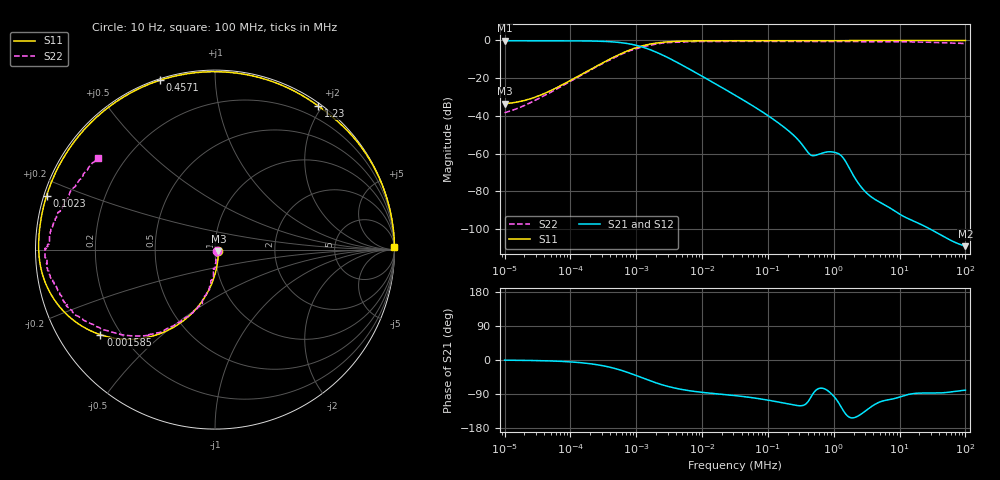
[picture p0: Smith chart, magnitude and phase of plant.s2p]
! NPort=2 DATA=701 NOISE=0 GROUPDELAY=0 COMPLEX_DATAFORMAT=RI
! NumOfBlock=1 NumOfParam=0
! .MODEL plant S TSTONEFILE=V:\EDA\users\dgarciam\oaks\vccd_hspice_ww52\deck_ww52\main_bode\shell_deck_AVP1p2_plant_touch.s2p TYPE=S
!  -- The above .MODEL line can be used for the S element in the netlist.
# Hz S RI R  0.100000000000000006
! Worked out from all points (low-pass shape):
!   701 points, 10 Hz to 100 MHz, reference 0.1 ohm
!   highest |S21| = -0.17 dB at 10 Hz (marker M1); lowest = -109.1 dB at 100 MHz (marker M2)
!   |S21| within 3 dB of the highest: start of sweep to 1.153 kHz
!   lowest |S11| = -33.6 dB at 10 Hz (marker M3), VSWR 1.04, Z = 0.104 - j0.0018 ohm
!   |S11| at or under -10 dB: start of sweep to 391.6 Hz
!   |S22| runs from -38.3 to -0.5 dB; largest |S21 - S12| = 7.6e-12
!   S11 on the Smith chart (normalised r, x): 10 Hz: 1.04, -0.02; 1.585 kHz: 0.13, -0.33; 102.3 kHz: 0.01, +0.16; 457.1 kHz: 0.01, +0.73; 1.23 MHz: 0.03, +1.95; 100 MHz: open
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10  0.0191 -0.00868  0.9808 -0.00852  0.9808 -0.00852  0.00879 -0.00833
31.6228  0.0184 -0.0274  0.9801 -0.0269  0.9801 -0.0269  0.00879 -0.0263
147.911  0.00292 -0.1263  0.965 -0.124  0.965 -0.124  -0.00187 -0.1213
501.187  -0.1402 -0.3659  0.825 -0.3594  0.825 -0.3594  -0.1227 -0.3515
954.993  -0.3893 -0.4914  0.5814 -0.4835  0.5814 -0.4835  -0.3678 -0.4729
1584.89  -0.638 -0.4744  0.3381 -0.4688  0.3381 -0.4688  -0.5774 -0.4586
2187.76  -0.7679 -0.409  0.211 -0.4067  0.211 -0.4067  -0.7231 -0.3978
5495.41  -0.9448 -0.1857  0.0379 -0.1982  0.0379 -0.1982  -0.89 -0.194
31622.8  -0.9815 0.0615  -0.00243 -0.0353  -0.00243 -0.0353  -0.9469 -0.035
102329  -0.9385 0.3  -0.00276 -0.00949  -0.00276 -0.00949  -0.9469 -0.00962
234423  -0.7514 0.6423  -0.00155 -0.00291  -0.00155 -0.00291  -0.9469 -0.000271
331131  -0.5635 0.8147  -0.000874 -0.00149  -0.000874 -0.00149  -0.9469 0.0032
457088  -0.3062 0.9436  -9.28e-05 -0.000892  -9.28e-05 -0.000892  -0.9398 0.00628
467735  -0.2852 0.9502  -4.67e-05 -0.000883  -4.67e-05 -0.000883  -0.9398 0.0065
724436  0.1423 0.9803  0.000257 -0.00104  0.000257 -0.00104  -0.9398 0.0106
1230270  0.5762 0.7996  -0.000436 -0.000844  -0.000436 -0.000844  -0.9327 0.0164
1445440  0.6689 0.7266  -0.000516 -0.000473  -0.000516 -0.000473  -0.9327 0.0186
1862090  0.7858 0.6084  -0.000285 -0.000147  -0.000285 -0.000147  -0.9327 0.0227
2884030  0.9056 0.4198  -7.76e-05 -7.16e-05  -7.76e-05 -7.16e-05  -0.9256 0.0316
6918310  0.983 0.182  -9.43e-06 -3.61e-05  -9.43e-06 -3.61e-05  -0.922 0.0624
2.63027e7  0.9988 0.0483  5.28e-07 -1.09e-05  5.28e-07 -1.09e-05  -0.8794 0.1993
1e8  0.9999 0.0127  6.23e-07 -3.43e-06  6.23e-07 -3.43e-06  -0.652 0.5121
